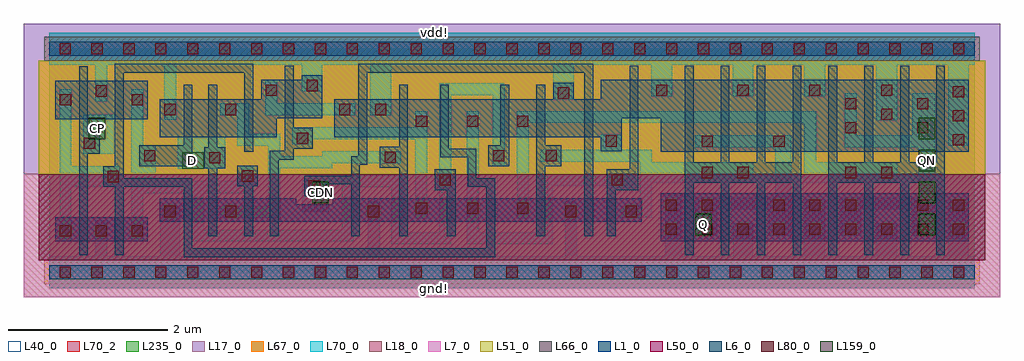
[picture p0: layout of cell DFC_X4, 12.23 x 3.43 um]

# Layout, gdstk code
import gdstk
lib = gdstk.Library(unit=1e-6, precision=1e-09)
def R(c, l, rs):  # rectangles x0, y0, x1, y1
    for r in rs: c.add(gdstk.rectangle(r[:2], r[2:], *l))
def A(c, l, x, y, w, h, nx, ny, dx, dy):  # array of equal rectangles
    R(c, l, [(x+i*dx, y+j*dy, x+i*dx+w, y+j*dy+h) for i in range(nx) for j in range(ny)])
def P(c, l, *ps):  # polygons
    for p in ps: c.add(gdstk.Polygon(p, *l))
L1_0 = (1, 0)
L6_0 = (6, 0)
L7_0 = (7, 0)
L17_0 = (17, 0)
L18_0 = (18, 0)
L40_0 = (40, 0)
L50_0 = (50, 0)
L51_0 = (51, 0)
L66_0 = (66, 0)
L67_0 = (67, 0)
L70_0 = (70, 0)
L70_2 = (70, 2)
L80_0 = (80, 0)
L159_0 = (159, 0)
L235_0 = (235, 0)

dfc_x4 = lib.new_cell('DFC_X4')
R(dfc_x4, L1_0, [(0,-0.09,11.6,0.09), (0.075,0.39,1.235,0.69), (7.665,0.39,11.525,0.99), (0.075,1.92,1.235,2.4), (0,2.71,11.6,2.89)])
P(dfc_x4, L1_0, [(3.575,1.69),(6.915,1.69),(6.915,1.515),(7.175,1.515),(7.175,1.93),(7.665,1.93),(7.665,1.51),(11.525,1.51),(11.525,2.41),(6.915,2.41),(6.915,2.17),(6.575,2.17),(6.575,2.375),(6.315,2.375),(6.315,2.17),(3.575,2.17)],
  [(1.385,0.63),(7.425,0.63),(7.425,0.93),(3.555,0.93),(3.555,0.85),(3.095,0.85),(3.095,0.93),(1.385,0.93)],
  [(1.385,1.69),(2.855,1.69),(2.855,1.93),(3.425,1.93),(3.425,2.47),(3.165,2.47),(3.165,2.41),(2.655,2.41),(2.655,2.17),(1.385,2.17)])
P(dfc_x4, L6_0, [(9.765,0.21),(9.875,0.21),(9.875,1.12),(10.215,1.12),(10.215,0.21),(10.325,0.21),(10.325,1.12),(10.665,1.12),(10.665,0.21),(10.775,0.21),(10.775,1.12),(11.115,1.12),(11.115,0.21),(11.225,0.21),(11.225,2.59),(11.115,2.59),(11.115,1.38),(10.775,1.38),(10.775,2.59),(10.665,2.59),(10.665,1.38),(10.325,1.38),(10.325,2.59),(10.215,2.59),(10.215,1.38),(9.875,1.38),(9.875,2.59),(9.765,2.59)],
  [(7.965,0.21),(8.075,0.21),(8.075,1.12),(8.415,1.12),(8.415,0.21),(8.525,0.21),(8.525,1.12),(8.865,1.12),(8.865,0.21),(8.975,0.21),(8.975,1.12),(9.315,1.12),(9.315,0.21),(9.425,0.21),(9.425,2.59),(9.315,2.59),(9.315,1.38),(8.975,1.38),(8.975,2.59),(8.865,2.59),(8.865,1.38),(8.525,1.38),(8.525,2.59),(8.415,2.59),(8.415,1.38),(8.075,1.38),(8.075,2.59),(7.965,2.59)],
  [(6.99,0.45),(7.1,0.45),(7.1,1.03),(7.385,1.03),(7.385,2.59),(7.275,2.59),(7.275,1.29),(6.99,1.29)],
  [(3.195,0.95),(3.455,0.95),(3.455,1.1),(3.785,1.1),(3.785,0.45),(3.895,0.45),(3.895,1.345),(3.985,1.345),(3.985,2.5),(6.705,2.5),(6.705,0.45),(6.815,0.45),(6.815,2.61),(3.875,2.61),(3.875,1.455),(3.785,1.455),(3.785,1.21),(3.195,1.21)],
  [(6.105,0.45),(6.215,0.45),(6.215,1.33),(6.42,1.33),(6.42,1.59),(6.215,1.59),(6.215,2.35),(6.105,2.35)],
  [(5.505,1.33),(5.765,1.33),(5.765,2.35),(5.655,2.35),(5.655,1.59),(5.505,1.59)],
  [(4.9,1.44),(5.245,1.44),(5.245,1.07),(5.48,1.07),(5.48,0.3),(1.795,0.3),(1.795,1.18),(0.935,1.18),(0.935,2.5),(2.445,2.5),(2.445,1.51),(2.555,1.51),(2.555,2.61),(0.825,2.61),(0.825,1.33),(0.675,1.33),(0.675,1.07),(0.825,1.07),(0.825,0.21),(0.935,0.21),(0.935,1.07),(1.685,1.07),(1.685,0.19),(5.59,0.19),(5.59,1.18),(5.355,1.18),(5.355,1.55),(5.01,1.55),(5.01,2.35),(4.9,2.35)],
  [(4.835,1.03),(4.985,1.03),(4.985,0.45),(5.095,0.45),(5.095,1.29),(4.835,1.29)],
  [(4.145,1.31),(4.385,1.31),(4.385,0.45),(4.495,0.45),(4.495,2.35),(4.385,2.35),(4.385,1.57),(4.145,1.57)],
  [(2.765,0.45),(2.875,0.45),(2.875,1.41),(3.065,1.41),(3.065,1.55),(3.305,1.55),(3.305,1.81),(3.065,1.81),(3.065,2.59),(2.955,2.59),(2.955,1.52),(2.765,1.52)],
  [(2.355,1.075),(2.445,1.075),(2.445,0.45),(2.555,0.45),(2.555,1.075),(2.615,1.075),(2.615,1.335),(2.355,1.335)],
  [(1.945,1.305),(1.995,1.305),(1.995,0.45),(2.105,0.45),(2.105,1.305),(2.205,1.305),(2.205,1.565),(2.105,1.565),(2.105,2.35),(1.995,2.35),(1.995,1.565),(1.945,1.565)],
  [(1.13,1.33),(1.795,1.33),(1.795,2.35),(1.685,2.35),(1.685,1.59),(1.13,1.59)],
  [(0.375,0.21),(0.485,0.21),(0.485,1.485),(0.635,1.485),(0.635,1.745),(0.485,1.745),(0.485,2.58),(0.375,2.58)])
R(dfc_x4, L7_0, [(-0.315,-0.315,11.915,1.23)])
R(dfc_x4, L17_0, [(-0.315,1.23,11.915,3.115)])
R(dfc_x4, L18_0, [(-0.315,-0.315,11.915,1.23)])
R(dfc_x4, L40_0, [(-0.315,-0.315,11.915,3.115)])
R(dfc_x4, L50_0, [(-0.13,0.15,11.73,1.23)])
R(dfc_x4, L51_0, [(-0.13,1.23,11.73,2.65)])
R(dfc_x4, L66_0, [(-0.13,0.15,11.73,1.23), (-0.06,2.65,11.66,2.95)])
R(dfc_x4, L67_0, [(-0.06,-0.15,11.66,0.15), (-0.13,1.23,11.73,2.65)])
R(dfc_x4, L70_0, [(3.17,0.76,3.505,1.155), (1.61,1.295,2.205,1.695), (0.43,1.485,0.83,1.975)])
P(dfc_x4, L70_0, [(0,2.6),(0.58,2.6),(0.58,2.14),(0.73,2.14),(0.73,2.6),(1.44,2.6),(1.44,1.91),(1.59,1.91),(1.59,2.6),(3.165,2.6),(3.165,2.265),(3.425,2.265),(3.425,2.6),(4.025,2.6),(4.025,1.965),(4.285,1.965),(4.285,2.6),(6.315,2.6),(6.315,2.17),(6.575,2.17),(6.575,2.6),(7.545,2.6),(7.545,2.205),(7.805,2.205),(7.805,2.6),(8.565,2.6),(8.565,2.205),(8.825,2.205),(8.825,2.6),(9.465,2.6),(9.465,2.205),(9.725,2.205),(9.725,2.6),(10.365,2.6),(10.365,1.905),(10.625,1.905),(10.625,2.6),(11.265,2.6),(11.265,1.585),(11.525,1.585),(11.525,2.6),(11.6,2.6),(11.6,3),(0,3)],
  [(0,-0.2),(11.6,-0.2),(11.6,0.2),(11.525,0.2),(11.525,0.915),(11.265,0.915),(11.265,0.2),(10.625,0.2),(10.625,0.615),(10.365,0.615),(10.365,0.2),(9.725,0.2),(9.725,0.915),(9.465,0.915),(9.465,0.2),(8.825,0.2),(8.825,0.615),(8.565,0.615),(8.565,0.2),(7.925,0.2),(7.925,0.97),(7.72,0.97),(7.72,0.2),(6.61,0.2),(6.61,0.89),(6.46,0.89),(6.46,0.2),(4.14,0.2),(4.14,0.89),(3.99,0.89),(3.99,0.2),(1.645,0.2),(1.645,0.835),(1.385,0.835),(1.385,0.2),(0.73,0.2),(0.73,0.65),(0.58,0.65),(0.58,0.2),(0,0.2)],
  [(9.97,1.565),(10.895,1.565),(10.895,0.935),(9.915,0.935),(9.915,0.465),(10.175,0.465),(10.175,0.785),(10.815,0.785),(10.815,0.465),(11.105,0.465),(11.105,2.24),(10.815,2.24),(10.815,1.715),(10.12,1.715),(10.12,2.24),(9.97,2.24)],
  [(8.095,1.565),(9.1,1.565),(9.1,0.935),(8.095,0.935),(8.095,0.465),(8.375,0.465),(8.375,0.785),(9.015,0.785),(9.015,0.465),(9.3,0.465),(9.3,1.715),(8.095,1.715)],
  [(5.86,0.67),(6.01,0.67),(6.01,1.87),(9.465,1.87),(9.465,1.12),(10.625,1.12),(10.625,1.38),(9.615,1.38),(9.615,2.02),(5.86,2.02)],
  [(6.16,1.385),(7.4,1.385),(7.4,0.835),(7.16,0.835),(7.16,0.685),(7.55,0.685),(7.55,1.12),(8.825,1.12),(8.825,1.38),(7.55,1.38),(7.55,1.535),(7.175,1.535),(7.175,1.72),(6.915,1.72),(6.915,1.535),(6.16,1.535)],
  [(5.235,0.35),(6.31,0.35),(6.31,1.085),(7.25,1.085),(7.25,1.235),(6.16,1.235),(6.16,0.5),(5.385,0.5),(5.385,2.02),(5.235,2.02)],
  [(1.03,0.39),(1.18,0.39),(1.18,0.985),(1.795,0.985),(1.795,0.385),(3.815,0.385),(3.815,1.065),(4.29,1.065),(4.29,0.35),(5.04,0.35),(5.04,2.215),(5.56,2.215),(5.56,1.33),(5.71,1.33),(5.71,2.365),(4.89,2.365),(4.89,0.5),(4.44,0.5),(4.44,1.215),(3.665,1.215),(3.665,0.535),(1.945,0.535),(1.945,0.985),(2.56,0.985),(2.56,1.335),(2.41,1.335),(2.41,1.145),(1.335,1.145),(1.335,1.59),(1.18,1.59),(1.18,2.29),(1.03,2.29)],
  [(3.045,1.605),(3.305,1.605),(3.305,1.665),(4.59,1.665),(4.59,0.67),(4.74,0.67),(4.74,2.02),(4.59,2.02),(4.59,1.815),(3.045,1.815)],
  [(2.145,1.965),(2.36,1.965),(2.36,1.585),(2.745,1.585),(2.745,0.835),(2.145,0.835),(2.145,0.685),(2.895,0.685),(2.895,1.305),(3.545,1.305),(3.545,1.365),(4.405,1.365),(4.405,1.515),(3.425,1.515),(3.425,1.455),(2.895,1.455),(2.895,1.735),(2.51,1.735),(2.51,2.115),(2.145,2.115)],
  [(2.71,1.965),(3.835,1.965),(3.835,2.115),(2.86,2.115),(2.86,2.41),(2.71,2.41)],
  [(0.13,0.39),(0.28,0.39),(0.28,1.07),(0.88,1.07),(0.88,1.33),(0.28,1.33),(0.28,2.29),(0.13,2.29)])
R(dfc_x4, L70_2, [(3.17,0.76,3.505,1.155), (3.17,0.76,3.505,1.155), (3.17,0.76,3.505,1.155), (1.61,1.295,2.205,1.695), (1.61,1.295,2.205,1.695), (1.61,1.295,2.205,1.695), (0.43,1.485,0.83,1.975), (0.43,1.485,0.83,1.975), (0.43,1.485,0.83,1.975)])
P(dfc_x4, L70_2, [(0,2.6),(0.58,2.6),(0.58,2.14),(0.73,2.14),(0.73,2.6),(1.44,2.6),(1.44,1.91),(1.59,1.91),(1.59,2.6),(3.165,2.6),(3.165,2.265),(3.425,2.265),(3.425,2.6),(4.025,2.6),(4.025,1.965),(4.285,1.965),(4.285,2.6),(6.315,2.6),(6.315,2.17),(6.575,2.17),(6.575,2.6),(7.545,2.6),(7.545,2.205),(7.805,2.205),(7.805,2.6),(8.565,2.6),(8.565,2.205),(8.825,2.205),(8.825,2.6),(9.465,2.6),(9.465,2.205),(9.725,2.205),(9.725,2.6),(10.365,2.6),(10.365,1.905),(10.625,1.905),(10.625,2.6),(11.265,2.6),(11.265,1.585),(11.525,1.585),(11.525,2.6),(11.6,2.6),(11.6,3),(0,3)],
  [(0,-0.2),(11.6,-0.2),(11.6,0.2),(11.525,0.2),(11.525,0.915),(11.265,0.915),(11.265,0.2),(10.625,0.2),(10.625,0.615),(10.365,0.615),(10.365,0.2),(9.725,0.2),(9.725,0.915),(9.465,0.915),(9.465,0.2),(8.825,0.2),(8.825,0.615),(8.565,0.615),(8.565,0.2),(7.925,0.2),(7.925,0.97),(7.72,0.97),(7.72,0.2),(6.61,0.2),(6.61,0.89),(6.46,0.89),(6.46,0.2),(4.14,0.2),(4.14,0.89),(3.99,0.89),(3.99,0.2),(1.645,0.2),(1.645,0.835),(1.385,0.835),(1.385,0.2),(0.73,0.2),(0.73,0.65),(0.58,0.65),(0.58,0.2),(0,0.2)],
  [(9.97,1.565),(10.895,1.565),(10.895,0.935),(9.915,0.935),(9.915,0.465),(10.175,0.465),(10.175,0.785),(10.815,0.785),(10.815,0.465),(11.105,0.465),(11.105,2.24),(10.815,2.24),(10.815,1.715),(10.12,1.715),(10.12,2.24),(9.97,2.24)],
  [(8.095,1.565),(9.1,1.565),(9.1,0.935),(8.095,0.935),(8.095,0.465),(8.375,0.465),(8.375,0.785),(9.015,0.785),(9.015,0.465),(9.3,0.465),(9.3,1.715),(8.095,1.715)],
  [(0,2.6),(0.58,2.6),(0.58,2.14),(0.73,2.14),(0.73,2.6),(1.44,2.6),(1.44,1.91),(1.59,1.91),(1.59,2.6),(3.165,2.6),(3.165,2.265),(3.425,2.265),(3.425,2.6),(4.025,2.6),(4.025,1.965),(4.285,1.965),(4.285,2.6),(6.315,2.6),(6.315,2.17),(6.575,2.17),(6.575,2.6),(7.545,2.6),(7.545,2.205),(7.805,2.205),(7.805,2.6),(8.565,2.6),(8.565,2.205),(8.825,2.205),(8.825,2.6),(9.465,2.6),(9.465,2.205),(9.725,2.205),(9.725,2.6),(10.365,2.6),(10.365,1.905),(10.625,1.905),(10.625,2.6),(11.265,2.6),(11.265,1.585),(11.525,1.585),(11.525,2.6),(11.6,2.6),(11.6,3),(0,3)],
  [(0,-0.2),(11.6,-0.2),(11.6,0.2),(11.525,0.2),(11.525,0.915),(11.265,0.915),(11.265,0.2),(10.625,0.2),(10.625,0.615),(10.365,0.615),(10.365,0.2),(9.725,0.2),(9.725,0.915),(9.465,0.915),(9.465,0.2),(8.825,0.2),(8.825,0.615),(8.565,0.615),(8.565,0.2),(7.925,0.2),(7.925,0.97),(7.72,0.97),(7.72,0.2),(6.61,0.2),(6.61,0.89),(6.46,0.89),(6.46,0.2),(4.14,0.2),(4.14,0.89),(3.99,0.89),(3.99,0.2),(1.645,0.2),(1.645,0.835),(1.385,0.835),(1.385,0.2),(0.73,0.2),(0.73,0.65),(0.58,0.65),(0.58,0.2),(0,0.2)],
  [(9.97,1.565),(10.895,1.565),(10.895,0.935),(9.915,0.935),(9.915,0.465),(10.175,0.465),(10.175,0.785),(10.815,0.785),(10.815,0.465),(11.105,0.465),(11.105,2.24),(10.815,2.24),(10.815,1.715),(10.12,1.715),(10.12,2.24),(9.97,2.24)],
  [(8.095,1.565),(9.1,1.565),(9.1,0.935),(8.095,0.935),(8.095,0.465),(8.375,0.465),(8.375,0.785),(9.015,0.785),(9.015,0.465),(9.3,0.465),(9.3,1.715),(8.095,1.715)],
  [(0,2.6),(0.58,2.6),(0.58,2.14),(0.73,2.14),(0.73,2.6),(1.44,2.6),(1.44,1.91),(1.59,1.91),(1.59,2.6),(3.165,2.6),(3.165,2.265),(3.425,2.265),(3.425,2.6),(4.025,2.6),(4.025,1.965),(4.285,1.965),(4.285,2.6),(6.315,2.6),(6.315,2.17),(6.575,2.17),(6.575,2.6),(7.545,2.6),(7.545,2.205),(7.805,2.205),(7.805,2.6),(8.565,2.6),(8.565,2.205),(8.825,2.205),(8.825,2.6),(9.465,2.6),(9.465,2.205),(9.725,2.205),(9.725,2.6),(10.365,2.6),(10.365,1.905),(10.625,1.905),(10.625,2.6),(11.265,2.6),(11.265,1.585),(11.525,1.585),(11.525,2.6),(11.6,2.6),(11.6,3),(0,3)],
  [(0,-0.2),(11.6,-0.2),(11.6,0.2),(11.525,0.2),(11.525,0.915),(11.265,0.915),(11.265,0.2),(10.625,0.2),(10.625,0.615),(10.365,0.615),(10.365,0.2),(9.725,0.2),(9.725,0.915),(9.465,0.915),(9.465,0.2),(8.825,0.2),(8.825,0.615),(8.565,0.615),(8.565,0.2),(7.925,0.2),(7.925,0.97),(7.72,0.97),(7.72,0.2),(6.61,0.2),(6.61,0.89),(6.46,0.89),(6.46,0.2),(4.14,0.2),(4.14,0.89),(3.99,0.89),(3.99,0.2),(1.645,0.2),(1.645,0.835),(1.385,0.835),(1.385,0.2),(0.73,0.2),(0.73,0.65),(0.58,0.65),(0.58,0.2),(0,0.2)],
  [(9.97,1.565),(10.895,1.565),(10.895,0.935),(9.915,0.935),(9.915,0.465),(10.175,0.465),(10.175,0.785),(10.815,0.785),(10.815,0.465),(11.105,0.465),(11.105,2.24),(10.815,2.24),(10.815,1.715),(10.12,1.715),(10.12,2.24),(9.97,2.24)],
  [(8.095,1.565),(9.1,1.565),(9.1,0.935),(8.095,0.935),(8.095,0.465),(8.375,0.465),(8.375,0.785),(9.015,0.785),(9.015,0.465),(9.3,0.465),(9.3,1.715),(8.095,1.715)])
A(dfc_x4, L80_0, 0.13, -0.07, 0.14, 0.14, 29, 2, 0.4, 2.8)
A(dfc_x4, L80_0, 0.135, 0.45, 0.14, 0.14, 3, 1, 0.45, 0)
A(dfc_x4, L80_0, 7.725, 0.47, 0.14, 0.14, 9, 1, 0.45, 0)
A(dfc_x4, L80_0, 9.075, 0.77, 0.14, 0.14, 3, 1, 0.45, 0)
A(dfc_x4, L80_0, 11.325, 1.59, 0.14, 0.14, 1, 3, 0, 0.3)
A(dfc_x4, L80_0, 8.625, 2.21, 0.14, 0.14, 3, 1, 0.9, 0)
R(dfc_x4, L80_0, [(1.445,0.69,1.585,0.83), (2.205,0.69,2.345,0.83), (3.995,0.69,4.135,0.83), (6.465,0.69,6.605,0.83), (7.225,0.69,7.365,0.83), (4.595,0.73,4.735,0.87), (5.24,0.73,5.38,0.87), (5.865,0.73,6.005,0.87), (7.725,0.77,7.865,0.91), (8.175,0.77,8.315,0.91), (10.875,0.77,11.015,0.91), (11.325,0.77,11.465,0.91), (3.255,1.01,3.395,1.15), (4.895,1.09,5.035,1.23), (7.05,1.09,7.19,1.23), (0.735,1.13,0.875,1.27), (2.415,1.135,2.555,1.275), (8.175,1.18,8.315,1.32), (8.625,1.18,8.765,1.32), (9.975,1.18,10.115,1.32), (10.425,1.18,10.565,1.32), (2.005,1.365,2.145,1.505), (4.205,1.37,4.345,1.51), (1.19,1.39,1.33,1.53), (5.565,1.39,5.705,1.53), (6.22,1.39,6.36,1.53), (0.435,1.545,0.575,1.685), (8.175,1.57,8.315,1.71), (9.075,1.57,9.215,1.71), (6.975,1.575,7.115,1.715), (3.105,1.61,3.245,1.75), (9.975,1.74,10.115,1.88), (10.875,1.74,11.015,1.88), (4.595,1.82,4.735,1.96), (5.24,1.82,5.38,1.96), (5.865,1.82,6.005,1.96), (10.425,1.91,10.565,2.05), (1.445,1.97,1.585,2.11), (2.205,1.97,2.345,2.11), (3.635,1.97,3.775,2.11), (4.085,1.97,4.225,2.11), (9.975,2.04,10.115,2.18), (10.875,2.04,11.015,2.18), (0.135,2.09,0.275,2.23), (1.035,2.09,1.175,2.23), (6.375,2.175,6.515,2.315), (0.585,2.2,0.725,2.34), (2.715,2.21,2.855,2.35), (7.605,2.21,7.745,2.35), (3.225,2.27,3.365,2.41)])
A(dfc_x4, L159_0, 10.895, 0.465, 0.21, 0.27, 1, 4, 0, 0.4)
R(dfc_x4, L159_0, [(8.095,0.465,8.305,0.735), (3.295,0.865,3.505,1.135), (1.665,1.295,1.935,1.505), (0.495,1.665,0.705,1.935)])
R(dfc_x4, L235_0, [(0,0,11.6,2.8)])
dfc_x4.add(gdstk.Label('Q', (8.2,0.6), layer=70, texttype=2))
dfc_x4.add(gdstk.Label('QN', (11,1.4), layer=70, texttype=2))
dfc_x4.add(gdstk.Label('gnd!', (4.83,-0.2), layer=70, texttype=2))
dfc_x4.add(gdstk.Label('vdd!', (4.83,3), layer=70, texttype=2))
dfc_x4.add(gdstk.Label('D', (1.8,1.4), layer=70, texttype=2))
dfc_x4.add(gdstk.Label('CP', (0.6,1.8), layer=70, texttype=2))
dfc_x4.add(gdstk.Label('CDN', (3.4,1), layer=70, texttype=2))

lib.write_gds('DFC_X4.gds')
